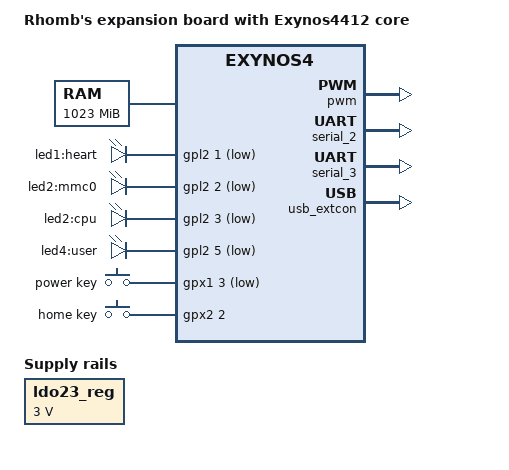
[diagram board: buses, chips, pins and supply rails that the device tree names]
/*
 * Rhomb Exynos4412 based device tree source
 *
 * Copyright (c) 2016 Imasd tecnologia and Arturo Sapiña <asapina@imasdtecnologia.com>
 *
 * Device tree source file for Rhomb expansion boards with 
 * Samsung's Exynos4412 SoC connected. File based on Hardkernel ODROID X dts
 * by Dongjin Kim <tobetter@gmail.com>
 * 
 * This program is free software; you can redistribute it and/or modify
 * it under the terms of the GNU General Public License version 2 as
 * published by the Free Software Foundation.
*/


/dts-v1/;
#include "exynos4412-rhomb-generic.dtsi"
#include "exynos4412-prime.dtsi"
#include <dt-bindings/pwm/pwm.h>

/ {
	model = "Rhomb's expansion board with Exynos4412 core";
	compatible = "hardkernel,odroid-x", "samsung,exynos4412", "samsung,exynos4";

	memory {
		reg = <0x40000000 0x3FF00000>;
	};

	leds {
		compatible = "gpio-leds";
		led1 {
			label = "led1:heart";
			gpios = <&gpl2 1 GPIO_ACTIVE_LOW>;
			default-state = "on";
			linux,default-trigger = "heartbeat";
		};
		led2 {
			label = "led2:mmc0";
			gpios = <&gpl2 2 GPIO_ACTIVE_LOW>;
			default-state = "on";
			linux,default-trigger = "mmc0";
		};
		led3 {
			label = "led2:cpu";
			gpios = <&gpl2 3 GPIO_ACTIVE_LOW>;
			default-state = "on";
			linux,default-trigger = "cpu";
		};
		led4 {
			label = "led4:user";
			gpios = <&gpl2 5 GPIO_ACTIVE_LOW>;
			default-state = "off";
		};
	};

	gpio_keys {
		compatible = "gpio-keys";
		pinctrl-names = "default";
		pinctrl-0 = <&gpio_power_key &gpio_home_key>;

		power_key {
			interrupt-parent = <&gpx1>;
			interrupts = <3 0>;
			gpios = <&gpx1 3 GPIO_ACTIVE_LOW>;
			linux,code = <KEY_POWER>;
			label = "power key";
			debounce-interval = <10>;
			wakeup-source;
		};

		home_key {
			interrupt-parent = <&gpx2>;
			interrupts = <2 0>;
			gpios = <&gpx2 2 GPIO_ACTIVE_HIGH>;
			linux,code = <KEY_HOME>;
			label = "home key";
			debounce-interval = <10>;
			wakeup-source;
		};
	};
};

&ldo23_reg {
	regulator-name = "usb_eth";
	regulator-min-microvolt = <3000000>;
	regulator-max-microvolt = <3000000>;
	regulator-always-on;
};

&ehci {
	port@1 {
		status = "okay";
	};
};

&mshc_0 {
	vqmmc-supply = <&ldo22_reg>;
	vmmc-supply = <&ldo13_reg>;
};

&pwm {
	status = "okay";
	samsung,pwm-outputs = <0>, <1>;
};

&pinctrl_1 {
	gpio_home_key: home_key {
		samsung,pins = "gpx2-2";
		samsung,pin-pud = <0>;
	};
};

&serial_2 {
	status = "okay";
};

&serial_3 {
	status = "okay";
};

&usb_extcon {
	pinctrl-0 = <&vbus_det>;
	status = "okay";
};
